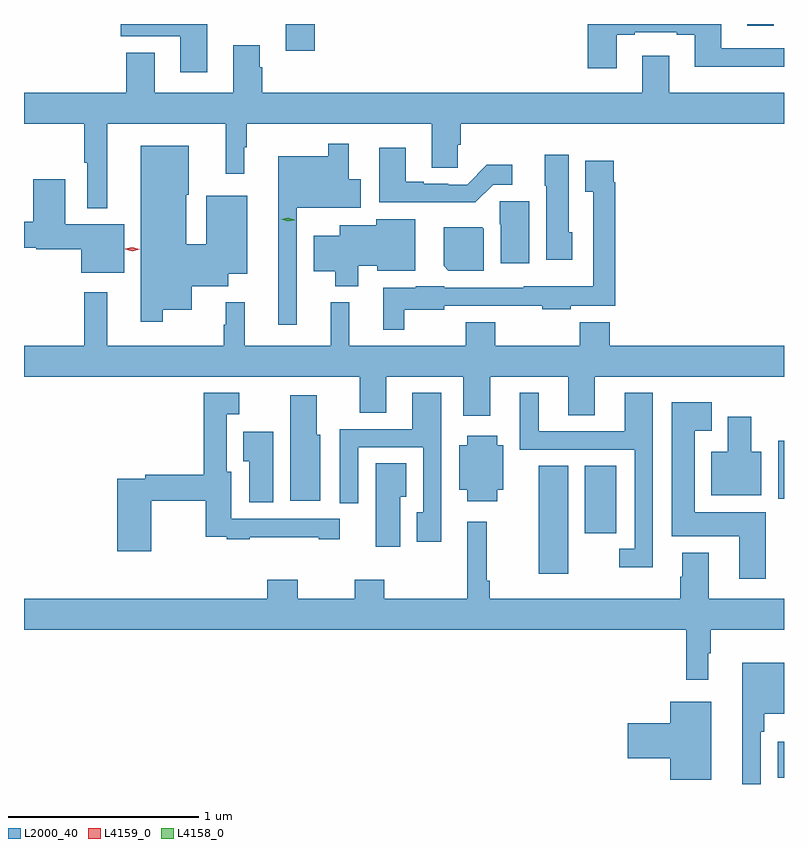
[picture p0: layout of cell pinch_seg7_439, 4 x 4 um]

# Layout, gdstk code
import gdstk
lib = gdstk.Library(unit=1e-6, precision=1e-09)
def R(c, l, rs):  # rectangles x0, y0, x1, y1
    for r in rs: c.add(gdstk.rectangle(r[:2], r[2:], *l))
def P(c, l, *ps):  # polygons
    for p in ps: c.add(gdstk.Polygon(p, *l))
L2000_40 = (2000, 40)
L4158_0 = (4158, 0)
L4159_0 = (4159, 0)

pinch_seg7_439 = lib.new_cell('pinch_seg7_439')
R(pinch_seg7_439, L2000_40, [(271.814,1059.779,271.848,1059.967), (270.557,1060.851,270.712,1061.42), (270.8,1061.064,270.964,1061.42), (271.817,1061.246,271.848,1061.551), (269.225,1063.605,269.378,1063.745), (271.655,1063.737,271.795,1063.745)])
P(pinch_seg7_439, L2000_40, [(268.813,1063.745),(268.358,1063.745),(268.358,1063.68),(268.67,1063.68),(268.67,1063.491),(268.813,1063.491)],
  [(270.967,1063.689),(271.063,1063.689),(271.063,1063.701),(271.283,1063.701),(271.283,1063.689),(271.379,1063.689),(271.379,1063.52),(271.848,1063.52),(271.848,1063.617),(271.519,1063.617),(271.519,1063.745),(270.815,1063.745),(270.815,1063.512),(270.967,1063.512)],
  [(268.285,1063.22),(268.91,1063.22),(268.91,1062.957),(269.008,1062.957),(269.008,1063.097),(269.02,1063.097),(269.02,1063.22),(269.993,1063.22),(269.993,1062.988),(270.132,1062.988),(270.132,1063.11),(270.146,1063.11),(270.146,1063.22),(271.848,1063.22),(271.848,1063.384),(271.243,1063.384),(271.243,1063.579),(271.103,1063.579),(271.103,1063.384),(269.102,1063.384),(269.102,1063.517),(269.089,1063.517),(269.089,1063.633),(268.949,1063.633),(268.949,1063.384),(268.537,1063.384),(268.537,1063.595),(268.385,1063.595),(268.385,1063.384),(267.848,1063.384),(267.848,1063.22),(268.164,1063.22),(268.164,1063.015),(268.181,1063.015),(268.181,1062.776),(268.285,1062.776)],
  [(269.283,1062.779),(269.62,1062.779),(269.62,1062.927),(269.557,1062.927),(269.557,1063.114),(269.448,1063.114),(269.448,1063.048),(269.186,1063.048),(269.186,1062.162),(269.283,1062.162)],
  [(268.577,1062.242),(268.732,1062.242),(268.732,1062.365),(268.924,1062.365),(268.924,1062.431),(269.023,1062.431),(269.023,1062.841),(268.808,1062.841),(268.808,1062.586),(268.702,1062.586),(268.702,1062.846),(268.714,1062.846),(268.714,1063.105),(268.463,1063.105),(268.463,1062.177),(268.577,1062.177)],
  [(270.318,1062.9),(270.418,1062.9),(270.418,1063.003),(270.283,1063.003),(270.18,1062.9),(270.08,1062.9),(270.08,1062.903),(269.953,1062.903),(269.953,1062.916),(269.857,1062.916),(269.857,1063.093),(269.717,1063.093),(269.717,1062.806),(270.223,1062.806)],
  [(270.733,1062.648),(270.715,1062.648),(270.715,1063.057),(270.59,1063.057),(270.59,1062.894),(270.596,1062.894),(270.596,1062.504),(270.733,1062.504)],
  [(269.848,1062.242),(270.06,1062.242),(270.06,1062.261),(270.576,1062.261),(270.576,1062.243),(270.726,1062.243),(270.726,1062.261),(270.959,1062.261),(270.959,1062.911),(270.952,1062.911),(270.952,1063.024),(270.803,1063.024),(270.803,1062.863),(270.843,1062.863),(270.843,1062.364),(270.477,1062.364),(270.477,1062.357),(270.06,1062.357),(270.06,1062.364),(269.91,1062.364),(269.91,1062.358),(269.738,1062.358),(269.738,1062.137),(269.848,1062.137)],
  [(268.375,1062.691),(268.066,1062.691),(268.066,1062.928),(267.896,1062.928),(267.896,1062.704),(267.848,1062.704),(267.848,1062.568),(267.912,1062.568),(267.912,1062.56),(268.148,1062.56),(268.148,1062.437),(268.375,1062.437)],
  [(270.508,1062.813),(270.352,1062.813),(270.352,1062.69),(270.356,1062.69),(270.356,1062.486),(270.508,1062.486)],
  [(269.608,1062.473),(269.706,1062.473),(269.706,1062.446),(269.908,1062.446),(269.908,1062.718),(269.702,1062.718),(269.702,1062.685),(269.51,1062.685),(269.51,1062.631),(269.372,1062.631),(269.372,1062.443),(269.486,1062.443),(269.486,1062.365),(269.608,1062.365)],
  [(270.268,1062.668),(270.26,1062.676),(270.056,1062.676),(270.056,1062.472),(270.082,1062.446),(270.268,1062.446)],
  [(270.301,1061.888),(270.713,1061.888),(270.713,1061.686),(270.853,1061.686),(270.853,1061.888),(271.848,1061.888),(271.848,1062.052),(270.932,1062.052),(270.932,1062.176),(270.772,1062.176),(270.772,1062.052),(270.327,1062.052),(270.327,1062.176),(270.172,1062.176),(270.172,1062.052),(269.561,1062.052),(269.561,1062.28),(269.462,1062.28),(269.462,1062.052),(269.009,1062.052),(269.009,1062.28),(268.91,1062.28),(268.91,1062.161),(268.899,1062.161),(268.899,1062.052),(268.285,1062.052),(268.285,1062.334),(268.164,1062.334),(268.164,1062.052),(267.848,1062.052),(267.848,1061.888),(269.615,1061.888),(269.615,1061.698),(269.755,1061.698),(269.755,1061.888),(270.161,1061.888),(270.161,1061.682),(270.301,1061.682)],
  [(270.045,1061.803),(269.891,1061.803),(269.891,1061.613),(269.511,1061.613),(269.511,1061.223),(269.607,1061.223),(269.607,1061.517),(269.949,1061.517),(269.949,1061.175),(269.915,1061.175),(269.915,1061.019),(270.045,1061.019)],
  [(271.158,1061.803),(271.01,1061.803),(271.01,1061.601),(270.556,1061.601),(270.556,1061.803),(270.458,1061.803),(270.458,1061.505),(271.062,1061.505),(271.062,1060.983),(270.981,1060.983),(270.981,1060.886),(271.158,1060.886)],
  [(268.518,1061.236),(268.804,1061.236),(268.804,1061.046),(268.915,1061.046),(268.915,1061.034),(269.035,1061.034),(269.035,1061.044),(269.399,1061.044),(269.399,1061.034),(269.511,1061.034),(269.511,1061.142),(268.939,1061.142),(268.939,1061.388),(268.915,1061.388),(268.915,1061.69),(268.981,1061.69),(268.981,1061.803),(268.794,1061.803),(268.794,1061.372),(268.486,1061.372),(268.486,1061.352),(268.34,1061.352),(268.34,1060.971),(268.518,1060.971)],
  [(269.407,1061.583),(269.389,1061.583),(269.389,1061.791),(269.249,1061.791),(269.249,1061.235),(269.407,1061.235)],
  [(271.753,1061.176),(271.378,1061.176),(271.378,1061.603),(271.468,1061.603),(271.468,1061.755),(271.256,1061.755),(271.256,1061.048),(271.613,1061.048),(271.613,1060.824),(271.753,1060.824)],
  [(271.729,1061.494),(271.675,1061.494),(271.675,1061.677),(271.553,1061.677),(271.553,1061.494),(271.466,1061.494),(271.466,1061.264),(271.729,1061.264)],
  [(269.161,1061.599),(269.003,1061.599),(269.003,1061.443),(269.033,1061.443),(269.033,1061.227),(269.161,1061.227)],
  [(270.34,1061.294),(270.37,1061.294),(270.37,1061.527),(270.34,1061.527),(270.34,1061.578),(270.182,1061.578),(270.182,1061.527),(270.14,1061.527),(270.14,1061.294),(270.182,1061.294),(270.182,1061.234),(270.34,1061.234)],
  [(269.827,1061.258),(269.86,1061.258),(269.86,1061.432),(269.699,1061.432),(269.699,1060.995),(269.827,1060.995)],
  [(271.45,1060.433),(271.462,1060.433),(271.462,1060.556),(271.848,1060.556),(271.848,1060.72),(271.453,1060.72),(271.453,1060.963),(271.313,1060.963),(271.313,1060.836),(271.301,1060.836),(271.301,1060.72),(270.299,1060.72),(270.299,1060.816),(270.284,1060.816),(270.284,1061.125),(270.182,1061.125),(270.182,1060.72),(269.745,1060.72),(269.745,1060.819),(269.59,1060.819),(269.59,1060.72),(269.289,1060.72),(269.289,1060.819),(269.129,1060.819),(269.129,1060.72),(267.848,1060.72),(267.848,1060.556),(271.333,1060.556),(271.333,1060.293),(271.45,1060.293)],
  [(271.725,1060.019),(271.745,1060.019),(271.745,1060.115),(271.848,1060.115),(271.848,1060.384),(271.628,1060.384),(271.628,1059.745),(271.725,1059.745)],
  [(271.465,1060.177),(271.25,1060.177),(271.25,1060.064),(271.026,1060.064),(271.026,1059.881),(271.25,1059.881),(271.25,1059.767),(271.465,1059.767)])
P(pinch_seg7_439, L4158_0, [(269.236,1062.706),(269.202,1062.717),(269.201,1062.717),(269.202,1062.717),(269.238,1062.725),(269.272,1062.714),(269.273,1062.714),(269.272,1062.713)])
P(pinch_seg7_439, L4159_0, [(268.418,1062.55),(268.381,1062.56),(268.381,1062.561),(268.381,1062.561),(268.419,1062.57),(268.456,1062.56),(268.456,1062.56),(268.456,1062.56)])

lib.write_gds('pinch_seg7_439.gds')
